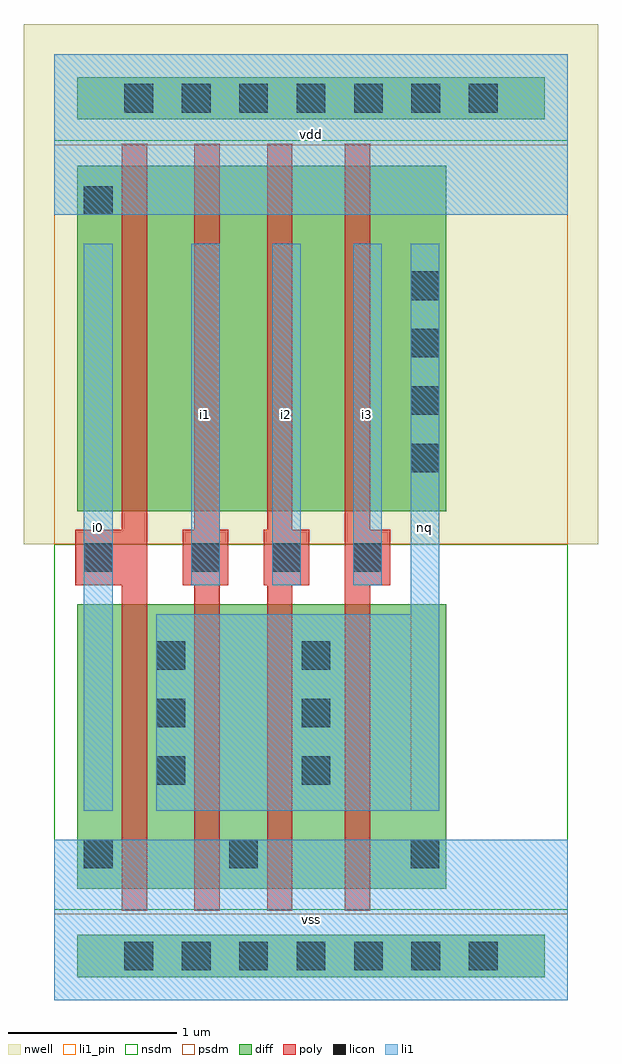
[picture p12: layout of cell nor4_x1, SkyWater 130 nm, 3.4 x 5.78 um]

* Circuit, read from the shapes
.subckt nor4_x1 i0 i1 i2 i3 nq vdd vss
XM1 nq i0 vss VSUBS sky130_fd_pr__nfet_01v8 w=1.685 l=0.15
XM2 vss i1 nq VSUBS sky130_fd_pr__nfet_01v8 w=1.685 l=0.15
XM3 nq i2 vss VSUBS sky130_fd_pr__nfet_01v8 w=1.685 l=0.15
XM4 vss i3 nq VSUBS sky130_fd_pr__nfet_01v8 w=1.685 l=0.15
XM5 n1 i0 vdd n2 sky130_fd_pr__pfet_01v8 w=2.045 l=0.15
XM6 n3 i1 n1 n2 sky130_fd_pr__pfet_01v8 w=2.045 l=0.15
XM7 n4 i2 n3 n2 sky130_fd_pr__pfet_01v8 w=2.045 l=0.15
XM8 nq i3 n4 n2 sky130_fd_pr__pfet_01v8 w=2.045 l=0.15
.ends

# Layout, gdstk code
import gdstk
lib = gdstk.Library(unit=1e-6, precision=1e-09)
def R(c, l, rs):  # rectangles x0, y0, x1, y1
    for r in rs: c.add(gdstk.rectangle(r[:2], r[2:], *l))
def A(c, l, x, y, w, h, nx, ny, dx, dy):  # array of equal rectangles
    R(c, l, [(x+i*dx, y+j*dy, x+i*dx+w, y+j*dy+h) for i in range(nx) for j in range(ny)])
def P(c, l, *ps):  # polygons
    for p in ps: c.add(gdstk.Polygon(p, *l))
nwell = (64, 20)
diff = (65, 20)
poly = (66, 20)
licon = (66, 44)
li1_pin = (67, 16)
li1 = (67, 20)
nsdm = (93, 44)
psdm = (94, 20)

nor4_x1 = lib.new_cell('nor4_x1')
R(nor4_x1, nwell, [(-0.18,2.7,3.22,5.78)])
R(nor4_x1, diff, [(0.135,0.135,2.905,0.385), (0.135,0.66,2.32,2.345), (0.135,2.895,2.32,4.94), (0.135,5.215,2.905,5.465)])
P(nor4_x1, poly, [(0.4,0.53),(0.4,2.455),(0.125,2.455),(0.125,2.785),(0.4,2.785),(0.4,5.07),(0.55,5.07),(0.55,0.53)],
  [(0.83,0.53),(0.83,2.455),(0.76,2.455),(0.76,2.785),(0.83,2.785),(0.83,5.07),(0.98,5.07),(0.98,2.785),(1.03,2.785),(1.03,2.455),(0.98,2.455),(0.98,0.53)],
  [(1.26,0.53),(1.26,2.455),(1.24,2.455),(1.24,2.785),(1.26,2.785),(1.26,5.07),(1.41,5.07),(1.41,2.785),(1.51,2.785),(1.51,2.455),(1.41,2.455),(1.41,0.53)],
  [(1.72,0.53),(1.72,5.07),(1.87,5.07),(1.87,2.785),(1.99,2.785),(1.99,2.455),(1.87,2.455),(1.87,0.53)])
A(nor4_x1, licon, 0.415, 0.175, 0.17, 0.17, 7, 2, 0.34, 5.08)
A(nor4_x1, licon, 0.605, 1.275, 0.17, 0.17, 1, 3, 0, 0.34)
A(nor4_x1, licon, 1.465, 1.275, 0.17, 0.17, 1, 3, 0, 0.34)
A(nor4_x1, licon, 0.81, 2.535, 0.17, 0.17, 3, 1, 0.48, 0)
A(nor4_x1, licon, 2.11, 3.125, 0.17, 0.17, 1, 4, 0, 0.34)
R(nor4_x1, licon, [(0.175,0.78,0.345,0.95), (1.035,0.78,1.205,0.95), (2.11,0.78,2.28,0.95), (0.175,2.535,0.345,2.705), (0.175,4.65,0.345,4.82)])
A(nor4_x1, li1_pin, 0.81, 2.455, 0.17, 2.025, 3, 1, 0.48, 0)
R(nor4_x1, li1_pin, [(0,0,3.04,0.95), (0.175,1.12,0.345,4.48), (2.11,1.12,2.28,4.48), (0,4.65,3.04,5.6)])
A(nor4_x1, li1, 0.81, 2.455, 0.17, 2.025, 3, 1, 0.48, 0)
R(nor4_x1, li1, [(0,0,3.04,0.95), (0.175,1.12,0.345,4.48), (0,4.65,3.04,5.6)])
P(nor4_x1, li1, [(0.605,1.12),(0.605,2.285),(2.11,2.285),(2.11,4.48),(2.28,4.48),(2.28,1.12)])
R(nor4_x1, nsdm, [(0,0.535,3.04,2.7), (0,5.09,3.04,5.6)])
R(nor4_x1, psdm, [(0,0,3.04,0.51), (0,2.7,3.04,5.065)])
nor4_x1.add(gdstk.Label('vss', (1.52,0.475), layer=67, texttype=16))
nor4_x1.add(gdstk.Label('vdd', (1.52,5.125), layer=67, texttype=16))
nor4_x1.add(gdstk.Label('nq', (2.195,2.8), layer=67, texttype=16))
nor4_x1.add(gdstk.Label('i0', (0.26,2.8), layer=67, texttype=16))
nor4_x1.add(gdstk.Label('i1', (0.895,3.468), layer=67, texttype=16))
nor4_x1.add(gdstk.Label('i2', (1.375,3.468), layer=67, texttype=16))
nor4_x1.add(gdstk.Label('i3', (1.855,3.468), layer=67, texttype=16))

lib.write_gds('nor4_x1.gds')
